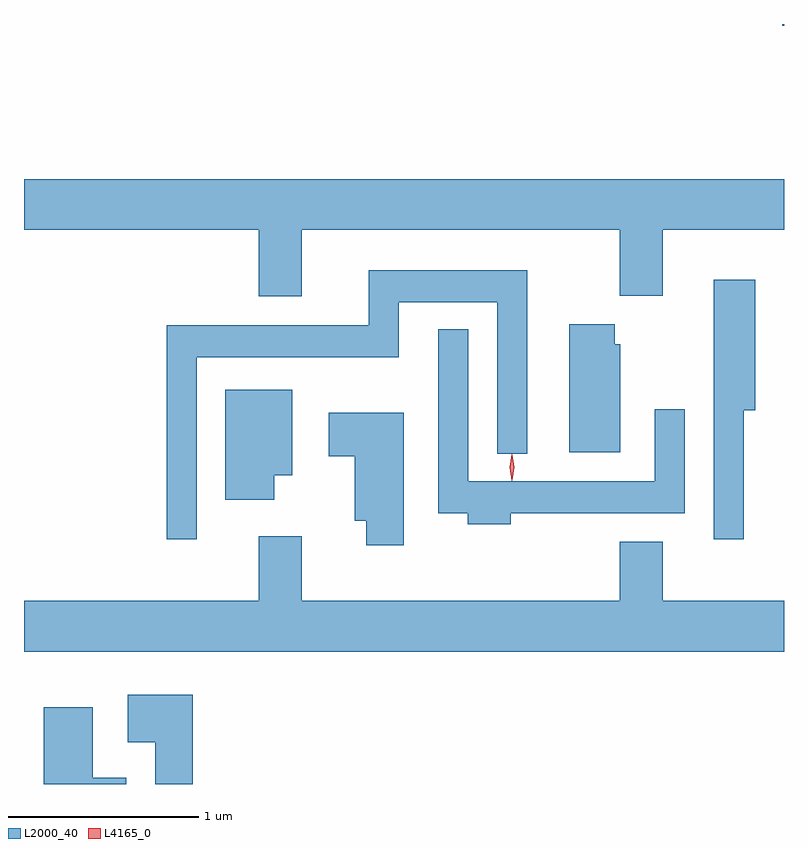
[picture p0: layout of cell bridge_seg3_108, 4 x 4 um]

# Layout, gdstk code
import gdstk
lib = gdstk.Library(unit=1e-6, precision=1e-09)
def R(c, l, rs):  # rectangles x0, y0, x1, y1
    for r in rs: c.add(gdstk.rectangle(r[:2], r[2:], *l))
def P(c, l, *ps):  # polygons
    for p in ps: c.add(gdstk.Polygon(p, *l))
L2000_40 = (2000, 40)
L4165_0 = (4165, 0)

bridge_seg3_108 = lib.new_cell('bridge_seg3_108')
R(bridge_seg3_108, L2000_40, [(1011.136,1213.671,1011.146,1213.68)])
P(bridge_seg3_108, L2000_40, [(1008.609,1212.596),(1010.281,1212.596),(1010.281,1212.251),(1010.509,1212.251),(1010.509,1212.596),(1011.146,1212.596),(1011.146,1212.864),(1007.146,1212.864),(1007.146,1212.596),(1008.381,1212.596),(1008.381,1212.246),(1008.609,1212.246)],
  [(1008.054,1211.926),(1009.119,1211.926),(1009.119,1212.216),(1009.636,1212.216),(1009.636,1211.418),(1009.794,1211.418),(1009.794,1212.384),(1008.961,1212.384),(1008.961,1212.094),(1007.896,1212.094),(1007.896,1210.968),(1008.054,1210.968)],
  [(1010.934,1211.646),(1010.994,1211.646),(1010.994,1212.334),(1010.776,1212.334),(1010.776,1210.968),(1010.934,1210.968)],
  [(1010.284,1211.994),(1010.254,1211.994),(1010.254,1212.099),(1010.016,1212.099),(1010.016,1211.426),(1010.284,1211.426)],
  [(1009.709,1211.106),(1010.624,1211.106),(1010.624,1211.653),(1010.466,1211.653),(1010.466,1211.274),(1009.484,1211.274),(1009.484,1212.073),(1009.326,1212.073),(1009.326,1211.106),(1009.481,1211.106),(1009.481,1211.046),(1009.709,1211.046)],
  [(1008.464,1211.306),(1008.559,1211.306),(1008.559,1211.754),(1008.206,1211.754),(1008.206,1211.176),(1008.464,1211.176)],
  [(1009.144,1211.634),(1008.751,1211.634),(1008.751,1211.406),(1008.886,1211.406),(1008.886,1211.066),(1008.946,1211.066),(1008.946,1210.936),(1009.144,1210.936)],
  [(1011.146,1210.644),(1010.509,1210.644),(1010.509,1210.954),(1010.281,1210.954),(1010.281,1210.644),(1008.609,1210.644),(1008.609,1210.984),(1008.381,1210.984),(1008.381,1210.644),(1007.146,1210.644),(1007.146,1210.376),(1011.146,1210.376)],
  [(1008.034,1210.149),(1007.691,1210.149),(1007.691,1209.901),(1007.836,1209.901),(1007.836,1209.68),(1008.034,1209.68)],
  [(1007.684,1209.714),(1007.509,1209.714),(1007.509,1210.084),(1007.251,1210.084),(1007.251,1209.68),(1007.684,1209.68)])
P(bridge_seg3_108, L4165_0, [(1009.712,1211.277),(1009.703,1211.347),(1009.712,1211.416),(1009.713,1211.416),(1009.714,1211.416),(1009.723,1211.347),(1009.714,1211.277),(1009.713,1211.277)],
  [(1009.715,1211.28),(1009.715,1211.28),(1009.705,1211.346),(1009.715,1211.412),(1009.715,1211.413),(1009.716,1211.412),(1009.725,1211.346),(1009.716,1211.28)])

lib.write_gds('bridge_seg3_108.gds')
